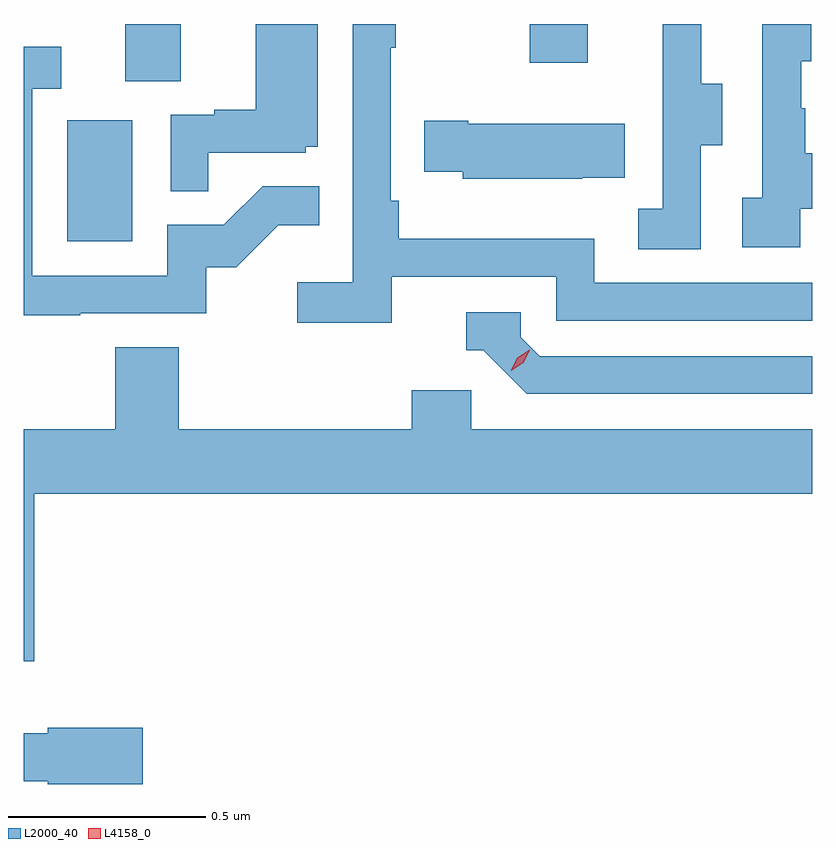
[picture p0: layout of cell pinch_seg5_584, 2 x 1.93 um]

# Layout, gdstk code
import gdstk
lib = gdstk.Library(unit=1e-6, precision=1e-09)
def R(c, l, rs):  # rectangles x0, y0, x1, y1
    for r in rs: c.add(gdstk.rectangle(r[:2], r[2:], *l))
def P(c, l, *ps):  # polygons
    for p in ps: c.add(gdstk.Polygon(p, *l))
L2000_40 = (2000, 40)
L4158_0 = (4158, 0)

pinch_seg5_584 = lib.new_cell('pinch_seg5_584')
R(pinch_seg5_584, L2000_40, [(1079.294,872.052,1079.458,872.359), (1079.441,872.458,1079.581,872.603), (1080.466,872.505,1080.613,872.603)])
P(pinch_seg5_584, L2000_40, [(1079.651,872.277),(1079.898,872.277),(1079.898,872.292),(1079.929,872.292),(1079.929,872.603),(1079.771,872.603),(1079.771,872.386),(1079.667,872.386),(1079.667,872.373),(1079.556,872.373),(1079.556,872.179),(1079.651,872.179)],
  [(1080.116,871.962),(1080.534,871.962),(1080.534,871.851),(1081.183,871.851),(1081.183,871.947),(1080.63,871.947),(1080.63,872.059),(1080.134,872.059),(1080.134,872.155),(1080.114,872.155),(1080.114,872.543),(1080.127,872.543),(1080.127,872.603),(1080.018,872.603),(1080.018,871.948),(1079.877,871.948),(1079.877,871.846),(1080.116,871.846)],
  [(1080.9,872.296),(1080.955,872.296),(1080.955,872.451),(1080.901,872.451),(1080.901,872.603),(1080.803,872.603),(1080.803,872.439),(1080.804,872.439),(1080.804,872.135),(1080.741,872.135),(1080.741,872.032),(1080.9,872.032)],
  [(1081.152,872.135),(1081.183,872.135),(1081.183,872.275),(1081.165,872.275),(1081.165,872.39),(1081.155,872.39),(1081.155,872.508),(1081.18,872.508),(1081.18,872.603),(1081.056,872.603),(1081.056,872.162),(1081.005,872.162),(1081.005,872.037),(1081.152,872.037)],
  [(1079.327,871.869),(1079.646,871.869),(1079.646,871.986),(1079.722,871.986),(1079.829,872.093),(1079.933,872.093),(1079.933,872.192),(1079.789,872.192),(1079.691,872.094),(1079.547,872.094),(1079.547,871.965),(1079.205,871.965),(1079.205,872.439),(1079.278,872.439),(1079.278,872.545),(1079.183,872.545),(1079.183,871.864),(1079.327,871.864)],
  [(1080.599,872.213),(1080.707,872.213),(1080.707,872.35),(1080.31,872.35),(1080.31,872.358),(1080.199,872.358),(1080.199,872.228),(1080.297,872.228),(1080.297,872.21),(1080.599,872.21)],
  [(1081.183,871.761),(1080.492,871.761),(1080.444,871.809),(1080.444,871.872),(1080.305,871.872),(1080.305,871.776),(1080.348,871.776),(1080.459,871.665),(1081.183,871.665)],
  [(1079.21,871.412),(1081.183,871.412),(1081.183,871.576),(1080.318,871.576),(1080.318,871.674),(1080.167,871.674),(1080.167,871.576),(1079.576,871.576),(1079.576,871.784),(1079.416,871.784),(1079.416,871.576),(1079.183,871.576),(1079.183,870.987),(1079.21,870.987)],
  [(1079.485,870.818),(1079.244,870.818),(1079.244,870.805),(1079.183,870.805),(1079.183,870.683),(1079.244,870.683),(1079.244,870.676),(1079.485,870.676)])
P(pinch_seg5_584, L4158_0, [(1080.419,871.724),(1080.419,871.725),(1080.435,871.757),(1080.466,871.777),(1080.466,871.777),(1080.466,871.776),(1080.45,871.744),(1080.419,871.724)])

lib.write_gds('pinch_seg5_584.gds')
